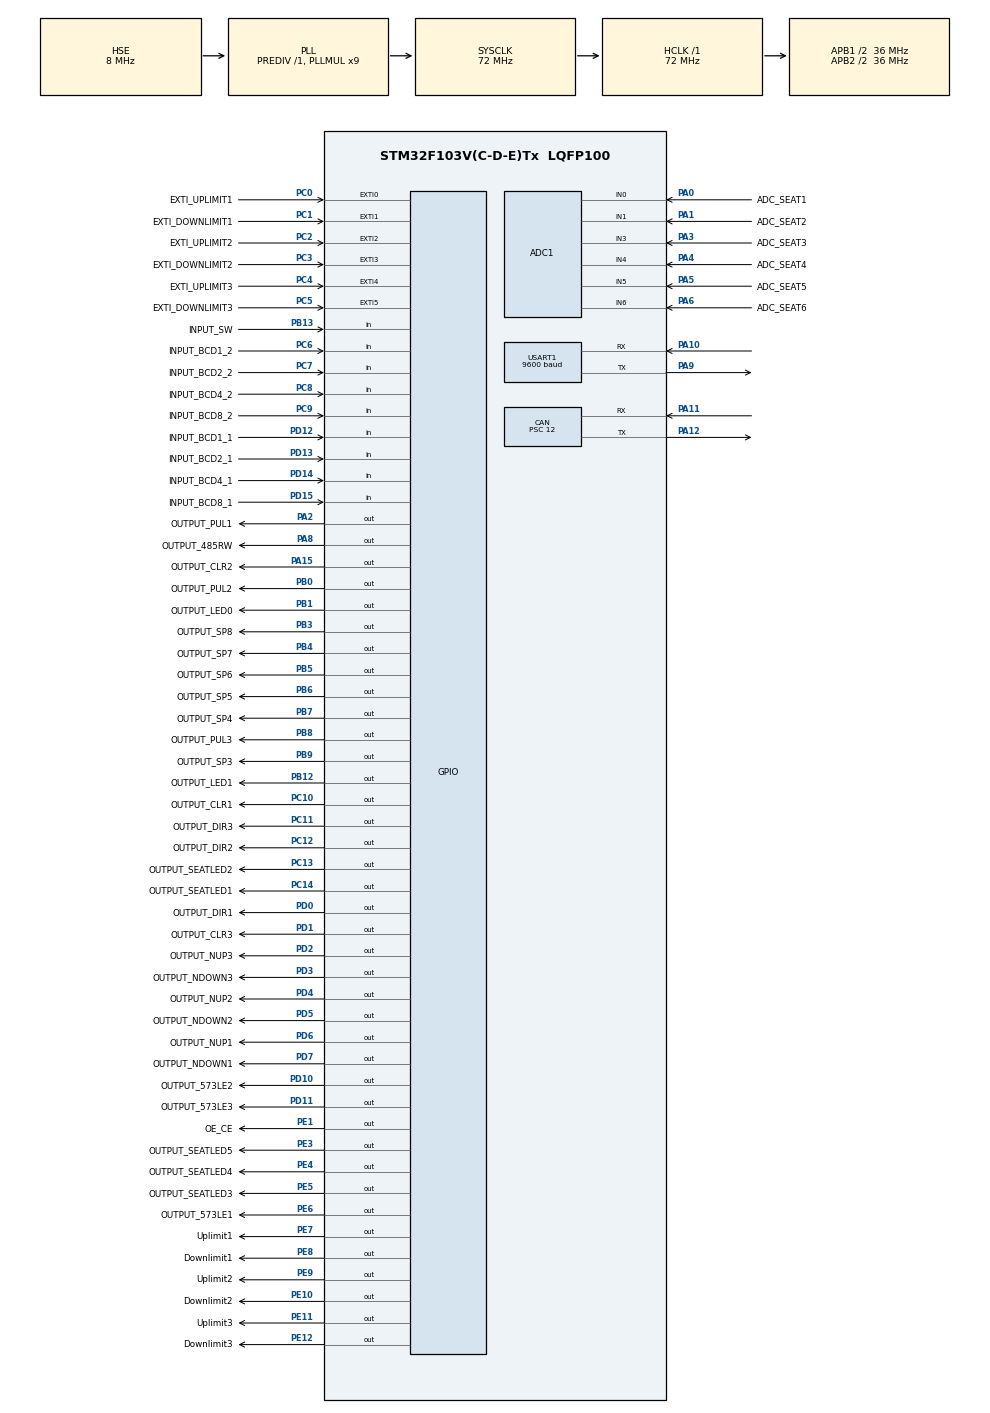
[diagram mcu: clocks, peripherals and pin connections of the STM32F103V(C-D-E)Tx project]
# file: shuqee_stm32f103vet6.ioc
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ADC1.Channel-0\#ChannelRegularConversion=ADC_CHANNEL_0
ADC1.Channel-1\#ChannelRegularConversion=ADC_CHANNEL_1
ADC1.Channel-2\#ChannelRegularConversion=ADC_CHANNEL_3
ADC1.Channel-3\#ChannelRegularConversion=ADC_CHANNEL_4
ADC1.Channel-4\#ChannelRegularConversion=ADC_CHANNEL_5
ADC1.Channel-5\#ChannelRegularConversion=ADC_CHANNEL_6
ADC1.ContinuousConvMode=ENABLE
ADC1.DataAlign=ADC_DATAALIGN_RIGHT
ADC1.DiscontinuousConvMode=DISABLE
ADC1.EnableAnalogWatchDog=false
ADC1.EnableRegularConversion=ENABLE
ADC1.ExternalTrigConv=ADC_SOFTWARE_START
ADC1.InjNumberOfConversion=0
ADC1.NbrOfConversion=6
ADC1.NbrOfConversionFlag=1
ADC1.Rank-0\#ChannelRegularConversion=1
ADC1.Rank-1\#ChannelRegularConversion=2
ADC1.Rank-2\#ChannelRegularConversion=3
ADC1.Rank-3\#ChannelRegularConversion=4
ADC1.Rank-4\#ChannelRegularConversion=5
ADC1.Rank-5\#ChannelRegularConversion=6
ADC1.SamplingTime-0\#ChannelRegularConversion=ADC_SAMPLETIME_239CYCLES_5
ADC1.SamplingTime-1\#ChannelRegularConversion=ADC_SAMPLETIME_239CYCLES_5
ADC1.SamplingTime-2\#ChannelRegularConversion=ADC_SAMPLETIME_239CYCLES_5
ADC1.SamplingTime-3\#ChannelRegularConversion=ADC_SAMPLETIME_239CYCLES_5
ADC1.SamplingTime-4\#ChannelRegularConversion=ADC_SAMPLETIME_239CYCLES_5
ADC1.SamplingTime-5\#ChannelRegularConversion=ADC_SAMPLETIME_239CYCLES_5
ADC1.ScanConvMode=ADC_SCAN_ENABLE
ADC1.master=1
CAN.BS1=CAN_BS1_5TQ
CAN.BS2=CAN_BS2_6TQ
CAN.CalculateTimeBit=4000
CAN.CalculateTimeQuantum=333.33333333333337
CAN.Prescaler=12
Dma.ADC1.0.Direction=DMA_PERIPH_TO_MEMORY
Dma.ADC1.0.Instance=DMA1_Channel1
Dma.ADC1.0.MemDataAlignment=DMA_MDATAALIGN_HALFWORD
Dma.ADC1.0.MemInc=DMA_MINC_ENABLE
Dma.ADC1.0.Mode=DMA_CIRCULAR
Dma.ADC1.0.PeriphDataAlignment=DMA_PDATAALIGN_HALFWORD
Dma.ADC1.0.PeriphInc=DMA_PINC_DISABLE
Dma.ADC1.0.Priority=DMA_PRIORITY_LOW
Dma.Request0=ADC1
Mcu.Family=STM32F1
Mcu.Name=STM32F103V(C-D-E)Tx
Mcu.Package=LQFP100
NVIC.DMA1_Channel1_IRQn=true\:4\:0\:true\:false\:true\:true
NVIC.EXTI0_IRQn=true\:0\:0\:false\:false\:true\:true
NVIC.EXTI1_IRQn=true\:0\:0\:false\:false\:true\:true
NVIC.EXTI2_IRQn=true\:0\:0\:false\:false\:true\:true
NVIC.EXTI3_IRQn=true\:0\:0\:false\:false\:true\:true
NVIC.EXTI4_IRQn=true\:0\:0\:false\:false\:true\:true
NVIC.EXTI9_5_IRQn=true\:0\:0\:false\:false\:true\:true
NVIC.PriorityGroup=NVIC_PRIORITYGROUP_4
NVIC.TIM1_UP_IRQn=true\:1\:0\:true\:false\:true\:true
NVIC.TIM2_IRQn=true\:1\:0\:true\:false\:true\:true
NVIC.TIM3_IRQn=true\:1\:0\:true\:false\:true\:true
NVIC.TIM6_IRQn=true\:1\:0\:true\:false\:true\:true
NVIC.USART1_IRQn=true\:2\:0\:true\:false\:true\:true
NVIC.USB_LP_CAN1_RX0_IRQn=true\:2\:0\:true\:false\:true\:true
OSC_IN.Mode=HSE-External-Oscillator
OSC_IN.Signal=RCC_OSC_IN
OSC_OUT.Mode=HSE-External-Oscillator
OSC_OUT.Signal=RCC_OSC_OUT
PA0-WKUP.GPIO_Label=ADC_SEAT1
PA0-WKUP.Signal=ADCx_IN0
PA1.GPIO_Label=ADC_SEAT2
PA1.Signal=ADCx_IN1
PA10.Mode=Asynchronous
PA10.Signal=USART1_RX
PA11.Mode=Master
PA11.Signal=CAN_RX
PA12.Mode=Master
PA12.Signal=CAN_TX
PA13.Mode=Serial_Wire
PA13.Signal=SYS_JTMS-SWDIO
PA14.Mode=Serial_Wire
PA14.Signal=SYS_JTCK-SWCLK
PA15.GPIO_Label=OUTPUT_CLR2
PA15.GPIO_Speed=GPIO_SPEED_FREQ_HIGH
PA15.Signal=GPIO_Output
PA2.GPIO_Label=OUTPUT_PUL1
PA2.GPIO_Speed=GPIO_SPEED_FREQ_HIGH
PA2.Signal=GPIO_Output
PA3.GPIO_Label=ADC_SEAT3
PA3.Signal=ADCx_IN3
PA4.GPIO_Label=ADC_SEAT4
PA4.Signal=ADCx_IN4
PA5.GPIO_Label=ADC_SEAT5
PA5.Signal=ADCx_IN5
PA6.GPIO_Label=ADC_SEAT6
PA6.Signal=ADCx_IN6
PA8.GPIO_Label=OUTPUT_485RW
PA8.GPIO_Speed=GPIO_SPEED_FREQ_HIGH
PA8.PinState=GPIO_PIN_SET
PA8.Signal=GPIO_Output
PA9.Mode=Asynchronous
PA9.Signal=USART1_TX
PB0.GPIO_Label=OUTPUT_PUL2
PB0.GPIO_Speed=GPIO_SPEED_FREQ_HIGH
PB0.Signal=GPIO_Output
PB1.GPIO_Label=OUTPUT_LED0
PB1.GPIO_Speed=GPIO_SPEED_FREQ_HIGH
PB1.Signal=GPIO_Output
PB12.GPIO_Label=OUTPUT_LED1
PB12.GPIO_Speed=GPIO_SPEED_FREQ_HIGH
PB12.Signal=GPIO_Output
PB13.GPIO_Label=INPUT_SW
PB13.Signal=GPIO_Input
PB3.GPIO_Label=OUTPUT_SP8
PB3.GPIO_Speed=GPIO_SPEED_FREQ_HIGH
PB3.PinState=GPIO_PIN_SET
PB3.Signal=GPIO_Output
PB4.GPIO_Label=OUTPUT_SP7
PB4.GPIO_Speed=GPIO_SPEED_FREQ_HIGH
PB4.PinState=GPIO_PIN_SET
PB4.Signal=GPIO_Output
PB5.GPIO_Label=OUTPUT_SP6
PB5.GPIO_Speed=GPIO_SPEED_FREQ_HIGH
PB5.PinState=GPIO_PIN_SET
PB5.Signal=GPIO_Output
PB6.GPIO_Label=OUTPUT_SP5
PB6.GPIO_Speed=GPIO_SPEED_FREQ_HIGH
PB6.PinState=GPIO_PIN_SET
PB6.Signal=GPIO_Output
PB7.GPIO_Label=OUTPUT_SP4
PB7.GPIO_Speed=GPIO_SPEED_FREQ_HIGH
PB7.PinState=GPIO_PIN_SET
PB7.Signal=GPIO_Output
PB8.GPIO_Label=OUTPUT_PUL3
PB8.GPIO_Speed=GPIO_SPEED_FREQ_HIGH
PB8.Signal=GPIO_Output
PB9.GPIO_Label=OUTPUT_SP3
PB9.GPIO_Speed=GPIO_SPEED_FREQ_HIGH
PB9.PinState=GPIO_PIN_SET
PB9.Signal=GPIO_Output
PC0.GPIO_Label=EXTI_UPLIMIT1
PC0.GPIO_ModeDefaultEXTI=GPIO_MODE_IT_RISING_FALLING
PC0.Signal=GPXTI0
PC1.GPIO_Label=EXTI_DOWNLIMIT1
PC1.GPIO_ModeDefaultEXTI=GPIO_MODE_IT_RISING_FALLING
PC1.Signal=GPXTI1
PC10.GPIO_Label=OUTPUT_CLR1
PC10.GPIO_Speed=GPIO_SPEED_FREQ_HIGH
PC10.Signal=GPIO_Output
PC11.GPIO_Label=OUTPUT_DIR3
PC11.GPIO_Speed=GPIO_SPEED_FREQ_HIGH
PC11.Signal=GPIO_Output
PC12.GPIO_Label=OUTPUT_DIR2
PC12.GPIO_Speed=GPIO_SPEED_FREQ_HIGH
PC12.Signal=GPIO_Output
PC13-TAMPER-RTC.GPIO_Label=OUTPUT_SEATLED2
PC13-TAMPER-RTC.GPIO_Speed=GPIO_SPEED_FREQ_HIGH
PC13-TAMPER-RTC.Signal=GPIO_Output
PC14-OSC32_IN.GPIO_Label=OUTPUT_SEATLED1
PC14-OSC32_IN.GPIO_Speed=GPIO_SPEED_FREQ_HIGH
PC14-OSC32_IN.Signal=GPIO_Output
PC2.GPIO_Label=EXTI_UPLIMIT2
PC2.GPIO_ModeDefaultEXTI=GPIO_MODE_IT_RISING_FALLING
PC2.Signal=GPXTI2
PC3.GPIO_Label=EXTI_DOWNLIMIT2
PC3.GPIO_ModeDefaultEXTI=GPIO_MODE_IT_RISING_FALLING
PC3.Signal=GPXTI3
PC4.GPIO_Label=EXTI_UPLIMIT3
PC4.GPIO_ModeDefaultEXTI=GPIO_MODE_IT_RISING_FALLING
PC4.Signal=GPXTI4
PC5.GPIO_Label=EXTI_DOWNLIMIT3
PC5.GPIO_ModeDefaultEXTI=GPIO_MODE_IT_RISING_FALLING
PC5.Signal=GPXTI5
PC6.GPIO_Label=INPUT_BCD1_2
PC6.Signal=GPIO_Input
PC7.GPIO_Label=INPUT_BCD2_2
PC7.Signal=GPIO_Input
PC8.GPIO_Label=INPUT_BCD4_2
PC8.Signal=GPIO_Input
PC9.GPIO_Label=INPUT_BCD8_2
PC9.Signal=GPIO_Input
PD0.GPIO_Label=OUTPUT_DIR1
PD0.GPIO_Speed=GPIO_SPEED_FREQ_HIGH
PD0.Signal=GPIO_Output
PD1.GPIO_Label=OUTPUT_CLR3
PD1.GPIO_Speed=GPIO_SPEED_FREQ_HIGH
PD1.Signal=GPIO_Output
PD10.GPIO_Label=OUTPUT_573LE2
PD10.GPIO_Speed=GPIO_SPEED_FREQ_HIGH
PD10.PinState=GPIO_PIN_RESET
PD10.Signal=GPIO_Output
PD11.GPIO_Label=OUTPUT_573LE3
PD11.GPIO_Speed=GPIO_SPEED_FREQ_HIGH
PD11.PinState=GPIO_PIN_RESET
PD11.Signal=GPIO_Output
PD12.GPIO_Label=INPUT_BCD1_1
PD12.Signal=GPIO_Input
PD13.GPIO_Label=INPUT_BCD2_1
PD13.Signal=GPIO_Input
PD14.GPIO_Label=INPUT_BCD4_1
PD14.Signal=GPIO_Input
PD15.GPIO_Label=INPUT_BCD8_1
PD15.Signal=GPIO_Input
PD2.GPIO_Label=OUTPUT_NUP3
PD2.GPIO_Speed=GPIO_SPEED_FREQ_HIGH
PD2.Signal=GPIO_Output
PD3.GPIO_Label=OUTPUT_NDOWN3
PD3.GPIO_Speed=GPIO_SPEED_FREQ_HIGH
PD3.Signal=GPIO_Output
PD4.GPIO_Label=OUTPUT_NUP2
PD4.GPIO_Speed=GPIO_SPEED_FREQ_HIGH
PD4.Signal=GPIO_Output
PD5.GPIO_Label=OUTPUT_NDOWN2
PD5.GPIO_Speed=GPIO_SPEED_FREQ_HIGH
PD5.Signal=GPIO_Output
PD6.GPIO_Label=OUTPUT_NUP1
PD6.GPIO_Speed=GPIO_SPEED_FREQ_HIGH
PD6.Signal=GPIO_Output
PD7.GPIO_Label=OUTPUT_NDOWN1
PD7.GPIO_Speed=GPIO_SPEED_FREQ_HIGH
PD7.Signal=GPIO_Output
PE1.GPIO_Label=OE_CE
PE1.Signal=GPIO_Output
PE10.GPIO_Label=Downlimit2
PE10.GPIO_Speed=GPIO_SPEED_FREQ_HIGH
PE10.PinState=GPIO_PIN_SET
PE10.Signal=GPIO_Output
PE11.GPIO_Label=Uplimit3
PE11.GPIO_Speed=GPIO_SPEED_FREQ_HIGH
PE11.PinState=GPIO_PIN_SET
PE11.Signal=GPIO_Output
PE12.GPIO_Label=Downlimit3
PE12.GPIO_Speed=GPIO_SPEED_FREQ_HIGH
PE12.PinState=GPIO_PIN_SET
PE12.Signal=GPIO_Output
PE3.GPIO_Label=OUTPUT_SEATLED5
PE3.GPIO_Speed=GPIO_SPEED_FREQ_HIGH
PE3.PinState=GPIO_PIN_RESET
PE3.Signal=GPIO_Output
PE4.GPIO_Label=OUTPUT_SEATLED4
PE4.GPIO_Speed=GPIO_SPEED_FREQ_HIGH
PE4.Signal=GPIO_Output
PE5.GPIO_Label=OUTPUT_SEATLED3
PE5.GPIO_Speed=GPIO_SPEED_FREQ_HIGH
PE5.Signal=GPIO_Output
PE6.GPIO_Label=OUTPUT_573LE1
PE6.GPIO_Speed=GPIO_SPEED_FREQ_HIGH
PE6.PinState=GPIO_PIN_RESET
PE6.Signal=GPIO_Output
PE7.GPIO_Label=Uplimit1
PE7.GPIO_Speed=GPIO_SPEED_FREQ_HIGH
PE7.PinState=GPIO_PIN_SET
PE7.Signal=GPIO_Output
PE8.GPIO_Label=Downlimit1
PE8.GPIO_Speed=GPIO_SPEED_FREQ_HIGH
PE8.PinState=GPIO_PIN_SET
PE8.Signal=GPIO_Output
PE9.GPIO_Label=Uplimit2
PE9.GPIO_Speed=GPIO_SPEED_FREQ_HIGH
PE9.PinState=GPIO_PIN_SET
PE9.Signal=GPIO_Output
ProjectManager.HeapSize=0x200
ProjectManager.StackSize=0x400
ProjectManager.TargetToolchain=MDK-ARM V5
RCC.ADCPresc=RCC_ADCPCLK2_DIV8
RCC.AHBFreq_Value=72000000
RCC.APB1CLKDivider=RCC_HCLK_DIV2
RCC.APB1Freq_Value=36000000
RCC.APB1TimFreq_Value=72000000
RCC.APB2CLKDivider=RCC_HCLK_DIV2
RCC.APB2Freq_Value=36000000
RCC.APB2TimFreq_Value=72000000
RCC.HCLKFreq_Value=72000000
RCC.PLLMUL=RCC_PLL_MUL9
RCC.PLLSourceVirtual=RCC_PLLSOURCE_HSE
RCC.SYSCLKFreq_VALUE=72000000
RCC.SYSCLKSource=RCC_SYSCLKSOURCE_PLLCLK
RCC.USBFreq_Value=72000000
SH.ADCx_IN0.0=ADC1_IN0,IN0
SH.ADCx_IN1.0=ADC1_IN1,IN1
SH.ADCx_IN3.0=ADC1_IN3,IN3
SH.ADCx_IN4.0=ADC1_IN4,IN4
SH.ADCx_IN5.0=ADC1_IN5,IN5
SH.ADCx_IN6.0=ADC1_IN6,IN6
TIM1.Period=999
TIM1.Prescaler=71
TIM2.Period=999
TIM2.Prescaler=71
TIM3.Period=999
TIM3.Prescaler=71
TIM6.AutoReloadPreload=TIM_AUTORELOAD_PRELOAD_ENABLE
TIM6.Period=999
TIM6.Prescaler=719
USART1.BaudRate=9600
USART1.VirtualMode=VM_ASYNC
VP_IWDG_VS_IWDG.Mode=IWDG_Activate
VP_TIM1_VS_ClockSourceINT.Mode=Internal
VP_TIM2_VS_ClockSourceINT.Mode=Internal
VP_TIM3_VS_ClockSourceINT.Mode=Internal
VP_TIM6_VS_ClockSourceINT.Mode=Enable_Timer
board=shuqee_stm32f103vet6

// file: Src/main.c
/**
  ******************************************************************************
  * File Name          : main.c
  * Description        : Main program body
  ******************************************************************************
  ** This notice applies to any and all portions of this file
  * that are not between comment pairs USER CODE BEGIN and
  * USER CODE END. Other portions of this file, whether
  * inserted by the user or by software development tools
  * are owned by their respective copyright owners.
  *
  * COPYRIGHT(c) 2018 STMicroelectronics
  *
  * Redistribution and use in source and binary forms, with or without modification,
  * are permitted provided that the following conditions are met:
  *   1. Redistributions of source code must retain the above copyright notice,
  *      this list of conditions and the following disclaimer.
  *   2. Redistributions in binary form must reproduce the above copyright notice,
  *      this list of conditions and the following disclaimer in the documentation
  *      and/or other materials provided with the distribution.
  *   3. Neither the name of STMicroelectronics nor the names of its contributors
  *      may be used to endorse or promote products derived from this software
  *      without specific prior written permission.
  *
  * THIS SOFTWARE IS PROVIDED BY THE COPYRIGHT HOLDERS AND CONTRIBUTORS "AS IS"
  * AND ANY EXPRESS OR IMPLIED WARRANTIES, INCLUDING, BUT NOT LIMITED TO, THE
  * IMPLIED WARRANTIES OF MERCHANTABILITY AND FITNESS FOR A PARTICULAR PURPOSE ARE
  * DISCLAIMED. IN NO EVENT SHALL THE COPYRIGHT HOLDER OR CONTRIBUTORS BE LIABLE
  * FOR ANY DIRECT, INDIRECT, INCIDENTAL, SPECIAL, EXEMPLARY, OR CONSEQUENTIAL
  * DAMAGES (INCLUDING, BUT NOT LIMITED TO, PROCUREMENT OF SUBSTITUTE GOODS OR
  * SERVICES; LOSS OF USE, DATA, OR PROFITS; OR BUSINESS INTERRUPTION) HOWEVER
  * CAUSED AND ON ANY THEORY OF LIABILITY, WHETHER IN CONTRACT, STRICT LIABILITY,
  * OR TORT (INCLUDING NEGLIGENCE OR OTHERWISE) ARISING IN ANY WAY OUT OF THE USE
  * OF THIS SOFTWARE, EVEN IF ADVISED OF THE POSSIBILITY OF SUCH DAMAGE.
  *
  ******************************************************************************
  */

#include "main.h"
#include "stm32f1xx_hal.h"

/* USER CODE BEGIN Includes */
#include "user_config.h"
#include "user_io.h"
#include "user_time.h"
#include "user_uart.h"
#include "user_can.h"
#include "sw_timer.h"
#include "sw_timer.h"

#include <string.h>

/* USER CODE END Includes */

ADC_HandleTypeDef hadc1;
DMA_HandleTypeDef hdma_adc1;

CAN_HandleTypeDef hcan;

IWDG_HandleTypeDef hiwdg;

TIM_HandleTypeDef htim1;
TIM_HandleTypeDef htim2;
TIM_HandleTypeDef htim3;
TIM_HandleTypeDef htim6;

UART_HandleTypeDef huart1;

/* USER CODE BEGIN PV */
/* Private variables ---------------------------------------------------------*/

struct motion_status motion[MOTION_COUNT] = {MOTION1};
struct status status = {0};
int flag_rst = 0;	//reset flag

/* USER CODE END PV */

void SystemClock_Config(void);
static void MX_GPIO_Init(void);
static void MX_DMA_Init(void);
static void MX_ADC1_Init(void);
static void MX_TIM1_Init(void);
static void MX_TIM2_Init(void);
static void MX_TIM3_Init(void);
static void MX_USART1_UART_Init(void);
static void MX_IWDG_Init(void);
static void MX_CAN_Init(void);
static void MX_TIM6_Init(void);

/* USER CODE BEGIN PFP */
/* Private function prototypes -----------------------------------------------*/
static void exti_interrupt_filter(void);
/* USER CODE END PFP */

/* USER CODE BEGIN 0 */

void delay_ns(uint32_t times)
{
	while(times--);
}

void delay_us(uint32_t times)
{
	int i;
	uint32_t count;
	for(i=0; i<10; i++)
	{
		count = times;
		while(count--);
	}
}

void delay_ms(uint32_t times)
{
	uint32_t count;
	count = times;
	while(count--)
		delay_us(1000);
}

/*外部中断屏蔽模块*/
void exti_mask(void)
{
	EXTI->IMR &=~(1<<1);  //1中断屏蔽模
	EXTI->IMR &=~(1<<3);	 //3中断屏蔽模
	EXTI->IMR &=~(1<<5);  //5中断屏蔽模
}

/*外部中断开启模块*/
void exti_open(void)
{
	EXTI->IMR |=1<<1;  //1开启屏蔽模
	EXTI->IMR |=1<<3;	 //3开启屏蔽模
	EXTI->IMR |=1<<5;  //5开启屏蔽模
}

#ifdef ENV_RESET
void find_origin(void) /* reset function */
{
	enum motion_num i;
	uint8_t downlimit_temp = 0;
	int def_high[MOTION_COUNT] = {0};
	int find_origin_step[MOTION_COUNT] = {0};
	uint8_t not_reset_num = 0; /* 未复位缸的数量 */
	for(i=MOTION1; i<MOTION_COUNT; i++)
	flag_rst |= 1<<i; /* 初始化复位标志(缸对应位初始值为1,复位后缸对应位为0) */
#ifndef MOTION1_ENABLE
	flag_rst &= ~(1<<MOTION1);
#endif
#ifndef MOTION2_ENABLE
	flag_rst &= ~(1<<MOTION2);
#endif
#ifndef MOTION3_ENABLE
	flag_rst &= ~(1<<MOTION3);
#endif
	while(flag_rst)	/* 仍有缸未复位 */
	{
		not_reset_num = 0;
		for(i=MOTION1; i<MOTION_COUNT; i++)
		{
			if((flag_rst&(1<<i)) != 0) /* 未复位 */
			{
				not_reset_num += 1;
			}
		}
		for(i=MOTION1; i<MOTION_COUNT; i++)
		{
			if((flag_rst&(1<<i)) != 0) /* 未复位 */
			{
				SAFE(downlimit_temp = status.downlimit[i]);
				switch (find_origin_step[i])
				{
					case 0:
						if (i == MOTION1)
						{
							LED_SEAT1(1);
							LED_SEAT2(1);
						}
						if (i == MOTION3)
						{
							LED_SEAT3(1);
							LED_SEAT4(1);
						}
						if (downlimit_temp == 0) /* 缸未到底 */
						{
							HAL_GPIO_WritePin(motion[i].io.ndown_port, motion[i].io.ndown_pin, GPIO_PIN_SET); /* 允许下降 */
							set_pul(i, (GPIO_PinState)1, (ENV_RESET_SPEED*MOTION_COUNT/not_reset_num), 1); /* 向下运动 */
						}
						else
						{
							++find_origin_step[i];
						}
						break;
					case 1:
						if (i == MOTION1)
						{
							LED_SEAT1(0);
							LED_SEAT2(1);
						}
						if (i == MOTION3)
						{
							LED_SEAT3(0);
							LED_SEAT4(1);
						}
						if (downlimit_temp == 1) /* 缸到底 */
						{
							HAL_GPIO_WritePin(motion[i].io.nup_port, motion[i].io.nup_pin, GPIO_PIN_SET); /* 允许上升 */
							set_pul(i, (GPIO_PinState)0, (ENV_RESET_SPEED*MOTION_COUNT/not_reset_num), 1); /* 向上运动 */
						}
						else
						{
							++find_origin_step[i];
						}
						break;
					case 2:
						if (i == MOTION1)
						{
							LED_SEAT1(1);
							LED_SEAT2(0);
						}
						if (i == MOTION3)
						{
							LED_SEAT3(1);
							LED_SEAT4(0);
						}
						if (downlimit_temp == 0) /* 缸未到底 */
						{
							HAL_GPIO_WritePin(motion[i].io.ndown_port, motion[i].io.ndown_pin, GPIO_PIN_SET); /* 允许下降 */
							set_pul(i, (GPIO_PinState)1, (ENV_RESET_SPEED*MOTION_COUNT/not_reset_num), 1); /* 向下运动 */
						}
						else
						{
							HAL_GPIO_WritePin(motion[i].io.nup_port, motion[i].io.nup_pin, GPIO_PIN_SET); /* 允许上升 */
							++find_origin_step[i];
						}
						break;
					case 3:
						if (i == MOTION1)
						{
							LED_SEAT1(0);
							LED_SEAT2(0);
						}
						if (i == MOTION3)
						{
							LED_SEAT3(0);
							LED_SEAT4(0);
						}
						if (motion[i].config.adj == 0) /* 不需要校正 */
							flag_rst &= ~(1<<i); /* 标志复位完成 */
						else
						{
							def_high[i] = motion[i].config.adj * ENV_SPACE;	/* 初始化校正高度 */
							++find_origin_step[i];
						}
						break;
					case 4:
						if (i == MOTION1)
						{
							LED_SEAT1(0);
							LED_SEAT2(0);
						}
						if (i == MOTION3)
						{
							LED_SEAT3(0);
							LED_SEAT4(0);
						}
						if(def_high[i] != 0)
						{
							set_pul(i, (GPIO_PinState)0, (ENV_RESET_SPEED*MOTION_COUNT/not_reset_num), 1); /* 向上运动 */
							def_high[i]--;
							if(def_high[i] == 0) /* 运动到指定位置 */
							{
								flag_rst &= ~(1<<i); /* 标志复位完成 */
							}
						}
						break;
					default:
						find_origin_step[i] = 0;
						break;
				}
			}
		}
#ifdef ENV_IWDG
		HAL_IWDG_Refresh(&hiwdg); /* have to refresh the iwdg */
#endif
#ifdef DIRNA
		exti_interrupt_filter();
#endif
	}
}
#endif

void exchange_nup_ndown(enum motion_num index)
{
	GPIO_TypeDef * temp_port;
	uint16_t temp_pin;
	temp_port = motion[index].io.nup_port;
	temp_pin = motion[index].io.nup_pin;
	motion[index].io.nup_port = motion[index].io.ndown_port;
	motion[index].io.nup_pin = motion[index].io.ndown_pin;
	motion[index].io.ndown_port = temp_port;
	motion[index].io.ndown_pin = temp_pin;
}

void user_motion_init(void)
{
	enum motion_num i;

	motion[MOTION1].io.dir_port = OUTPUT_DIR1_GPIO_Port;
	motion[MOTION1].io.dir_pin = OUTPUT_DIR1_Pin;
	motion[MOTION1].io.pul_port = OUTPUT_PUL1_GPIO_Port;
	motion[MOTION1].io.pul_pin = OUTPUT_PUL1_Pin;
	motion[MOTION1].io.nup_port = OUTPUT_NUP1_GPIO_Port;
	motion[MOTION1].io.nup_pin = OUTPUT_NUP1_Pin;
	motion[MOTION1].io.ndown_port = OUTPUT_NDOWN1_GPIO_Port;
	motion[MOTION1].io.ndown_pin = OUTPUT_NDOWN1_Pin;
	motion[MOTION2].io.dir_port = OUTPUT_DIR2_GPIO_Port;
	motion[MOTION2].io.dir_pin = OUTPUT_DIR2_Pin;
	motion[MOTION2].io.pul_port = OUTPUT_PUL2_GPIO_Port;
	motion[MOTION2].io.pul_pin = OUTPUT_PUL2_Pin;
	motion[MOTION2].io.nup_port = OUTPUT_NUP2_GPIO_Port;
	motion[MOTION2].io.nup_pin = OUTPUT_NUP2_Pin;
	motion[MOTION2].io.ndown_port = OUTPUT_NDOWN2_GPIO_Port;
	motion[MOTION2].io.ndown_pin = OUTPUT_NDOWN2_Pin;
	motion[MOTION3].io.dir_port = OUTPUT_DIR3_GPIO_Port;
	motion[MOTION3].io.dir_pin = OUTPUT_DIR3_Pin;
	motion[MOTION3].io.pul_port = OUTPUT_PUL3_GPIO_Port;
	motion[MOTION3].io.pul_pin = OUTPUT_PUL3_Pin;
	motion[MOTION3].io.nup_port = OUTPUT_NUP3_GPIO_Port;
	motion[MOTION3].io.nup_pin = OUTPUT_NUP3_Pin;
	motion[MOTION3].io.ndown_port = OUTPUT_NDOWN3_GPIO_Port;
	motion[MOTION3].io.ndown_pin = OUTPUT_NDOWN3_Pin;

	motion[MOTION1].config.dir = MOTION1_CONFIG_DIR;
	motion[MOTION2].config.dir = MOTION2_CONFIG_DIR;
	motion[MOTION3].config.dir = MOTION3_CONFIG_DIR;

	motion[MOTION1].config.origin = MOTION1_CONFIG_ORIGIN;
	motion[MOTION2].config.origin = MOTION2_CONFIG_ORIGIN;
	motion[MOTION3].config.origin = MOTION3_CONFIG_ORIGIN;

	motion[MOTION1].config.adj = MOTION1_CONFIG_ADJ;
	motion[MOTION2].config.adj = MOTION2_CONFIG_ADJ;
	motion[MOTION3].config.adj = MOTION3_CONFIG_ADJ;

	for (i=MOTION1; i<MOTION_COUNT; i++)
	{
		motion[i].index = i;
		motion[i].high.set = motion[i].config.origin * ENV_SPACE;
		if (motion[i].config.dir == GPIO_PIN_SET) /* 如果脉冲方向取反 */
			exchange_nup_ndown(i); /* 正反转禁止对应引脚取反 */
	}
#ifdef ENV_RESET
	find_origin();
#endif
}

#ifdef ENV_NOSENSOR
void free_ndown(void)
{
	enum motion_num i;
	for (i=MOTION1; i<MOTION_COUNT; i++)
	{
		if (motion[i].high.now >= 0 * ENV_SPACE)
			HAL_GPIO_WritePin(motion[i].io.ndown_port, motion[i].io.ndown_pin, GPIO_PIN_SET); /* 允许下降 */
	}
}
void free_nup(void)
{
	enum motion_num i;
	for (i=MOTION1; i<MOTION_COUNT; i++)
	{
		if (motion[i].high.now <= 255 * ENV_SPACE)
			HAL_GPIO_WritePin(motion[i].io.nup_port, motion[i].io.nup_pin, GPIO_PIN_SET); /* 允许上升 */
	}
}
#else
void free_ndown(void)
{
	enum motion_num i;
	for (i=MOTION1; i<MOTION_COUNT; i++)
	{
		if (status.downlimit[i] == 0)
			HAL_GPIO_WritePin(motion[i].io.ndown_port, motion[i].io.ndown_pin, GPIO_PIN_SET); /* 允许下降 */
	}
}
void free_nup(void)
{
	enum motion_num i;
	for (i=MOTION1; i<MOTION_COUNT; i++)
	{
		if (status.uplimit[i] == 0)
			HAL_GPIO_WritePin(motion[i].io.nup_port, motion[i].io.nup_pin, GPIO_PIN_SET); /* 允许上升 */
	}
}
#endif

#ifdef DIRNA
uint16_t recognize_limit_time(enum motion_num index)
{
	if((motion[index].high.now<=0x10)&&(motion[index].high.now>=0)&&(motion[index].dir==(GPIO_PinState)1))  //0x00-0x10
	{
		return RESET_FILTER_TIME;
	}
	if((motion[index].high.now<=0xff)&&(motion[index].high.now>=0xef)&&(motion[index].dir==(GPIO_PinState)0))  //0xef-0xff
	{
		return RESET_FILTER_TIME;
	}
	if((motion[index].high.now<0xef)&&(motion[index].high.now>0x10))  //0x00-0x10
	{
		return RUN_TILTER_TIME;
	}
 return RUN_TILTER_TIME;
}
void exti_interrupt_filter(void)
{
	enum motion_num index;
	uint32_t temp;
	for(index=MOTION1;index<MOTION_COUNT;index++)
	{
		if(flag_rst )//复位；
		{
			if(status.uplimit[index]==1)
			{
				if (HAL_GetTick() - status.uplimit_count_time[index]>=RESET_FILTER_TIME)
				{
					if(index==MOTION2)	//测试用
					Uplimit1(1);				//测试用
				}
			}
			else
			{
				status.uplimit_count_time[index]=  HAL_GetTick();
			}
			if(status.downlimit[index]==1)
			{
				if (HAL_GetTick() - status.downlimit_count_time[index]>=RESET_FILTER_TIME)
				{
					if(index==MOTION2)	//测试用
					Downlimit1(1);			//测试用
				}
			}
			else
			{
				status.downlimit_count_time[index]=  HAL_GetTick();
			}
		}
	if(flag_rst==0 )//正常运行;
	{
		if(status.uplimit[index]==1)
		{
			if(HAL_GetTick()<recognize_limit_time(index))  //确定滴答时钟是否不满足时间LIMIT
			{
				status.protection_up_flag[index]=1;
			}
			if (HAL_GetTick() - status.uplimit_count_time[index]>=recognize_limit_time(index))
			{
				if(status.protection_up_flag[index])
				{
					temp=status.uplimit_count_time[index];
					status.uplimit_count_time[index]=  HAL_GetTick()-temp;
					status.protection_up_flag[index]=0;
					continue;
				}
				if(index==MOTION2)		//测试用
				Uplimit2(1);					//测试用
				up_limit(index);
			}
		}
		else
		{
			status.uplimit_count_time[index]=  HAL_GetTick();
		}
		if(status.downlimit[index]==1)
		{
			if(HAL_GetTick()<recognize_limit_time(index))  //确定滴答时钟是否不满足时间LIMIT
			{
				status.protection_down_flag[index]=1;
			}
			if (HAL_GetTick() - status.downlimit_count_time[index]>=recognize_limit_time(index))
			{
				if(status.protection_down_flag[index])
				{
					temp=status.uplimit_count_time[index];
					status.uplimit_count_time[index]=  HAL_GetTick()-temp;
					status.protection_down_flag[index]=0;
					continue;
				}
				if(index==MOTION2)  //测试用
				Downlimit2(1);	    //测试用
				down_limit(index);
			}
		}
		else
		{
			status.downlimit_count_time[index]=  HAL_GetTick();
		}
	}
 }
}

#endif
/* USER CODE END 0 */

int main(void)
{

  /* USER CODE BEGIN 1 */
	static int led_count = 0;
#ifdef ENV_SEAT_PICKING
	static uint8_t seat_picking = 0;
#endif
#ifdef ENV_SEND_SEAT_INFO
	static uint8_t send_seat = 0;
	static uint8_t send_buf[4] = {0xff,0xc1}; /* 回复帧头 */
	static int send_index = 0;
#endif

	 /* 串口数据更新标志 */
	uint8_t update_485;
	uint8_t update_can;
	uint8_t init_flag = 0; /* 初始化标准位 */
  /* USER CODE END 1 */

  /* MCU Configuration----------------------------------------------------------*/

  /* Reset of all peripherals, Initializes the Flash interface and the Systick. */
  HAL_Init();

  /* Configure the system clock */
  SystemClock_Config();

  /* USER CODE BEGIN SysInit */
#ifdef ENV_IWDG
  /* USER CODE END SysInit */

  /* Initialize all configured peripherals */
  MX_GPIO_Init();
  MX_DMA_Init();
  MX_ADC1_Init();
  MX_TIM1_Init();
  MX_TIM2_Init();
  MX_TIM3_Init();
  MX_USART1_UART_Init();
  MX_IWDG_Init();
  MX_CAN_Init();
  MX_TIM6_Init();

  /* USER CODE BEGIN 2 */
#else

  /* Initialize all configured peripherals */
  MX_GPIO_Init();
  MX_DMA_Init();
  MX_ADC1_Init();
  MX_TIM1_Init();
  MX_TIM2_Init();
  MX_TIM3_Init();
	MX_TIM6_Init();
  MX_USART1_UART_Init();
	MX_CAN_Init();
  /* MX_IWDG_Init(); */

#endif
  /* USER CODE END 2 */

  /* Infinite loop */
  while (1)
  {

  /* USER CODE BEGIN 3 */

	memset((void *)motion, 0 ,sizeof(motion));
	status.id = 0;
	status.seat_num = 0;
	status.seat_enable = 0;
	status.spb = 0;
	led_count = 0;
#ifdef ENV_SEAT_PICKING
	seat_picking = 0;
#endif
#ifdef ENV_SEND_SEAT_INFO
	send_seat = 0;
	send_index = 0;
#endif
	user_io_init();
	user_motion_init();
  user_adc_start();
	user_time_init();
	user_uart_init();
	user_can_init();
	sw_timer_init();
	init_flag = 1;
	while (init_flag != 0)
	{
#ifdef DIRNA
		exti_interrupt_filter();
#endif
		sw_timer_handle();
#ifdef ENV_IWDG
		HAL_IWDG_Refresh(&hiwdg);
#endif
		status.seat_enable = GET_SEAT_ENABLE();
		SAFE(status.seat_enable += status.seat_num);
		SAFE(update_485 = frame.enable);
		SAFE(free_ndown());
		SAFE(free_nup());
    SAFE(update_can=get_update_flag());
		if((update_485)||(update_can)) /* 串口数据更新 */
		{
			SAFE(frame.enable = 0);
			SAFE(clr_update_flag());
			/*LED_START*/
			led_count++;
			led_count = led_count%10;
			if(led_count == 0)
			{
				LED_TOGGLE(); /* 闪烁指示灯 */
			}
			/*LED_END*/
			/*SEAT_START*/
#ifdef ENV_SEAT_PICKING
			if (seat_picking == 0) /* 座椅未被选中 */
			{
				status.seat_enable = 0;
			}
#endif
///////////////////////////////////////////////////////////////////
		if(!can_or_485)
		{
//			uint8_t msg_buff_l[8]={0};
////	  uint8_t a,b,c;
//			SAFE(get_high_speed_date(HIGHT_MSG_P,msg_buff_l));
////			SAFE(get_high_speed_date(ENV_SP_P,&a));
////			SAFE(get_high_speed_date(SEAT_ID_P,&b));
////			SAFE(get_high_speed_date(SEAT_SP_P,&c));
//
//			SAFE(frame.buff[4]=msg_buff_l[2]);
//			SAFE(frame.buff[3]=msg_buff_l[1]);
//			SAFE(frame.buff[2]=msg_buff_l[0]);
//
//			SAFE(frame.buff[5]=msg_buff_l[4]);
//			SAFE(frame.buff[7]=msg_buff_l[5]);
		}
			////////////////////////////////////////////////////////////

			if(status.seat_enable) /* 座椅使能 */
			{
				SAFE(status.spb = frame.buff[5]); /* 更新特效 */
//#ifdef MOTION1_ENABLE
//				SAFE(motion[MOTION1].high.set = frame.buff[4] * ENV_SPACE); /* 更新目标位置 */
//#else
//				SAFE(motion[MOTION1].high.set = motion[MOTION1].config.origin * ENV_SPACE); /* 恢复目标位置 */
//#endif
//#ifdef MOTION2_ENABLE
//				SAFE(motion[MOTION2].high.set = frame.buff[3] * ENV_SPACE); /* 更新目标位置 */
//#else
//				SAFE(motion[MOTION2].high.set = motion[MOTION2].config.origin * ENV_SPACE); /* 恢复目标位置 */
//#endif
//#ifdef MOTION3_ENABLE
//				SAFE(motion[MOTION3].high.set = frame.buff[2] * ENV_SPACE); /* 更新目标位置 */
//#else
//				SAFE(motion[MOTION3].high.set = motion[MOTION3].config.origin * ENV_SPACE); /* 恢复目标位置 */
//#endif
			}
			else
			{
				SAFE(motion[MOTION1].high.set = motion[MOTION1].config.origin * ENV_SPACE); /* 恢复目标位置 */
				SAFE(motion[MOTION2].high.set = motion[MOTION2].config.origin * ENV_SPACE); /* 恢复目标位置 */
				SAFE(motion[MOTION3].high.set = motion[MOTION3].config.origin * ENV_SPACE); /* 恢复目标位置 */
				SAFE(status.spb = frame.buff[5]); /* 更新特效 */
#ifdef ENV_SWING_LINK
				SAFE(status.spb &= SPB_AIR_INJECTION_MASK); /* 恢复特效 */
#else
				SAFE(status.spb = 0); /* 恢复特效 */
#endif
			}
			status.id = 0; /* 更新id */
			if(GET_ID_1())
				status.id = status.id + 1;
			if(GET_ID_2())
				status.id = status.id + 2;
			if(GET_ID_4())
				status.id = status.id + 4;
			if(GET_ID_8())
				status.id = status.id + 8;
			if(GET_ID_10())
				status.id = status.id + 10;
			if(GET_ID_20())
				status.id = status.id + 20;
			if(GET_ID_40())
				status.id = status.id + 40;
			if(GET_ID_80())
				status.id = status.id + 80;
#ifdef ENV_SEAT_PICKING
			if (frame.buff[7] == 0xAA) /* 选中所有座椅 */
			{
				seat_picking = 1;
			}
			else if (frame.buff[7] == 0x00) /* 取消选中所有座椅 */
			{
				seat_picking = 0;
			}
			else if (frame.buff[7] == status.id) /* 根据ID选中座椅 */
			{
				seat_picking = 1;
			}
			else
			{
				; /* 维持当前选中或未选中状态 */
			}
#endif
#ifdef ENV_SEND_SEAT_INFO
			if(frame.buff[7] == status.id) /* 判断座椅编号 */
			{
				if (frame.buff[7] != 0x00)
				{
					send_seat = 1;
					send_buf[2] = status.id;
					SAFE(send_buf[3] = status.seat_num);
				}
			}
#endif
			/*SEAT_END*/
		}
		/*SEND_SEAT_START*/
#ifdef ENV_SEND_SEAT_INFO
		if(send_seat)
		{
			HAL_GPIO_WritePin(OUTPUT_485RW_GPIO_Port, OUTPUT_485RW_Pin, GPIO_PIN_RESET); /* 485发送 */
			if(send_index == 0 || __HAL_UART_GET_FLAG(&huart1, UART_FLAG_TXE) != RESET)
			{
				huart1.Instance->DR = send_buf[send_index];
				send_index++;
			}
			if(send_index == 4)
			{
				send_index = 0;
				send_seat = 0;
			}
		}
		else
		{
			if(__HAL_UART_GET_FLAG(&huart1, UART_FLAG_TXE) != RESET)
			HAL_GPIO_WritePin(OUTPUT_485RW_GPIO_Port, OUTPUT_485RW_Pin, GPIO_PIN_SET); /* 485接收 */
		}
#endif
		/*SEND_SEAT_END*/
		/*SPB_START*/
		SPB3(status.spb&(1<<2)); /* 更新特效到IO输出 */
		SPB4(status.spb&(1<<3));
		SPB5(status.spb&(1<<4));
		SPB6(status.spb&(1<<5));
		SPB7(status.spb&(1<<6));
		SPB8(status.spb&(1<<7));
		/*SPB_END*/
		/*RST_START*/
		if (status.spb&0x01)
		{
			user_adc_stop();
			user_time_stop();
			user_uart_stop();
			init_flag = 0;
		}
		else
		{
			/*RST_END*/
			HAL_UART_Receive_IT(&huart1, (uint8_t *)&(frame.data), 1); /* 防止串口出错 */
		}
	}
  }
  /* USER CODE END 3 */

}

/** System Clock Configuration
*/
void SystemClock_Config(void)
{

  RCC_OscInitTypeDef RCC_OscInitStruct;
  RCC_ClkInitTypeDef RCC_ClkInitStruct;
  RCC_PeriphCLKInitTypeDef PeriphClkInit;

    /**Initializes the CPU, AHB and APB busses clocks
    */
  RCC_OscInitStruct.OscillatorType = RCC_OSCILLATORTYPE_LSI|RCC_OSCILLATORTYPE_HSE;
  RCC_OscInitStruct.HSEState = RCC_HSE_ON;
  RCC_OscInitStruct.HSEPredivValue = RCC_HSE_PREDIV_DIV1;
  RCC_OscInitStruct.HSIState = RCC_HSI_ON;
  RCC_OscInitStruct.LSIState = RCC_LSI_ON;
  RCC_OscInitStruct.PLL.PLLState = RCC_PLL_ON;
  RCC_OscInitStruct.PLL.PLLSource = RCC_PLLSOURCE_HSE;
  RCC_OscInitStruct.PLL.PLLMUL = RCC_PLL_MUL9;
  if (HAL_RCC_OscConfig(&RCC_OscInitStruct) != HAL_OK)
  {
    _Error_Handler(__FILE__, __LINE__);
  }

    /**Initializes the CPU, AHB and APB busses clocks
    */
  RCC_ClkInitStruct.ClockType = RCC_CLOCKTYPE_HCLK|RCC_CLOCKTYPE_SYSCLK
                              |RCC_CLOCKTYPE_PCLK1|RCC_CLOCKTYPE_PCLK2;
  RCC_ClkInitStruct.SYSCLKSource = RCC_SYSCLKSOURCE_PLLCLK;
  RCC_ClkInitStruct.AHBCLKDivider = RCC_SYSCLK_DIV1;
  RCC_ClkInitStruct.APB1CLKDivider = RCC_HCLK_DIV2;
  RCC_ClkInitStruct.APB2CLKDivider = RCC_HCLK_DIV2;

  if (HAL_RCC_ClockConfig(&RCC_ClkInitStruct, FLASH_LATENCY_2) != HAL_OK)
  {
    _Error_Handler(__FILE__, __LINE__);
  }

  PeriphClkInit.PeriphClockSelection = RCC_PERIPHCLK_ADC;
  PeriphClkInit.AdcClockSelection = RCC_ADCPCLK2_DIV8;
  if (HAL_RCCEx_PeriphCLKConfig(&PeriphClkInit) != HAL_OK)
  {
    _Error_Handler(__FILE__, __LINE__);
  }

    /**Configure the Systick interrupt time
    */
  HAL_SYSTICK_Config(HAL_RCC_GetHCLKFreq()/1000);

    /**Configure the Systick
    */
  HAL_SYSTICK_CLKSourceConfig(SYSTICK_CLKSOURCE_HCLK);

  /* SysTick_IRQn interrupt configuration */
  HAL_NVIC_SetPriority(SysTick_IRQn, 5, 0);
}

/* ADC1 init function */
static void MX_ADC1_Init(void)
{

  ADC_ChannelConfTypeDef sConfig;

    /**Common config
    */
  hadc1.Instance = ADC1;
  hadc1.Init.ScanConvMode = ADC_SCAN_ENABLE;
  hadc1.Init.ContinuousConvMode = ENABLE;
  hadc1.Init.DiscontinuousConvMode = DISABLE;
  hadc1.Init.ExternalTrigConv = ADC_SOFTWARE_START;
  hadc1.Init.DataAlign = ADC_DATAALIGN_RIGHT;
  hadc1.Init.NbrOfConversion = 6;
  if (HAL_ADC_Init(&hadc1) != HAL_OK)
  {
    _Error_Handler(__FILE__, __LINE__);
  }

    /**Configure Regular Channel
    */
  sConfig.Channel = ADC_CHANNEL_0;
  sConfig.Rank = 1;
  sConfig.SamplingTime = ADC_SAMPLETIME_239CYCLES_5;
  if (HAL_ADC_ConfigChannel(&hadc1, &sConfig) != HAL_OK)
  {
    _Error_Handler(__FILE__, __LINE__);
  }

    /**Configure Regular Channel
    */
  sConfig.Channel = ADC_CHANNEL_1;
  sConfig.Rank = 2;
  if (HAL_ADC_ConfigChannel(&hadc1, &sConfig) != HAL_OK)
  {
    _Error_Handler(__FILE__, __LINE__);
  }

    /**Configure Regular Channel
    */
  sConfig.Channel = ADC_CHANNEL_3;
  sConfig.Rank = 3;
  if (HAL_ADC_ConfigChannel(&hadc1, &sConfig) != HAL_OK)
  {
    _Error_Handler(__FILE__, __LINE__);
  }

    /**Configure Regular Channel
    */
  sConfig.Channel = ADC_CHANNEL_4;
  sConfig.Rank = 4;
  if (HAL_ADC_ConfigChannel(&hadc1, &sConfig) != HAL_OK)
  {
    _Error_Handler(__FILE__, __LINE__);
  }

    /**Configure Regular Channel
    */
  sConfig.Channel = ADC_CHANNEL_5;
  sConfig.Rank = 5;
  if (HAL_ADC_ConfigChannel(&hadc1, &sConfig) != HAL_OK)
  {
    _Error_Handler(__FILE__, __LINE__);
  }

    /**Configure Regular Channel
    */
  sConfig.Channel = ADC_CHANNEL_6;
  sConfig.Rank = 6;
  if (HAL_ADC_ConfigChannel(&hadc1, &sConfig) != HAL_OK)
  {
    _Error_Handler(__FILE__, __LINE__);
  }

}

/* CAN init function */
static void MX_CAN_Init(void)
{

  hcan.Instance = CAN1;
  hcan.Init.Prescaler = 12;
  hcan.Init.Mode = CAN_MODE_NORMAL;
  hcan.Init.SJW = CAN_SJW_1TQ;
  hcan.Init.BS1 = CAN_BS1_5TQ;
  hcan.Init.BS2 = CAN_BS2_6TQ;
  hcan.Init.TTCM = DISABLE;
  hcan.Init.ABOM = DISABLE;
  hcan.Init.AWUM = DISABLE;
  hcan.Init.NART = DISABLE;
  hcan.Init.RFLM = DISABLE;
  hcan.Init.TXFP = DISABLE;
  if (HAL_CAN_Init(&hcan) != HAL_OK)
  {
    _Error_Handler(__FILE__, __LINE__);
  }

}

/* IWDG init function */
static void MX_IWDG_Init(void)
{

  hiwdg.Instance = IWDG;
  hiwdg.Init.Prescaler = IWDG_PRESCALER_4;
  hiwdg.Init.Reload = 4095;
  if (HAL_IWDG_Init(&hiwdg) != HAL_OK)
  {
    _Error_Handler(__FILE__, __LINE__);
  }

}

/* TIM1 init function */
static void MX_TIM1_Init(void)
{

  TIM_ClockConfigTypeDef sClockSourceConfig;
  TIM_MasterConfigTypeDef sMasterConfig;

  htim1.Instance = TIM1;
  htim1.Init.Prescaler = 71;
  htim1.Init.CounterMode = TIM_COUNTERMODE_UP;
  htim1.Init.Period = 999;
  htim1.Init.ClockDivision = TIM_CLOCKDIVISION_DIV1;
  htim1.Init.RepetitionCounter = 0;
  htim1.Init.AutoReloadPreload = TIM_AUTORELOAD_PRELOAD_DISABLE;
  if (HAL_TIM_Base_Init(&htim1) != HAL_OK)
  {
    _Error_Handler(__FILE__, __LINE__);
  }

  sClockSourceConfig.ClockSource = TIM_CLOCKSOURCE_INTERNAL;
  if (HAL_TIM_ConfigClockSource(&htim1, &sClockSourceConfig) != HAL_OK)
  {
    _Error_Handler(__FILE__, __LINE__);
  }

  sMasterConfig.MasterOutputTrigger = TIM_TRGO_RESET;
  sMasterConfig.MasterSlaveMode = TIM_MASTERSLAVEMODE_DISABLE;
  if (HAL_TIMEx_MasterConfigSynchronization(&htim1, &sMasterConfig) != HAL_OK)
  {
    _Error_Handler(__FILE__, __LINE__);
  }

}

/* TIM2 init function */
static void MX_TIM2_Init(void)
{

  TIM_ClockConfigTypeDef sClockSourceConfig;
  TIM_MasterConfigTypeDef sMasterConfig;

  htim2.Instance = TIM2;
  htim2.Init.Prescaler = 71;
  htim2.Init.CounterMode = TIM_COUNTERMODE_UP;
  htim2.Init.Period = 999;
  htim2.Init.ClockDivision = TIM_CLOCKDIVISION_DIV1;
  htim2.Init.AutoReloadPreload = TIM_AUTORELOAD_PRELOAD_DISABLE;
  if (HAL_TIM_Base_Init(&htim2) != HAL_OK)
  {
    _Error_Handler(__FILE__, __LINE__);
  }

  sClockSourceConfig.ClockSource = TIM_CLOCKSOURCE_INTERNAL;
  if (HAL_TIM_ConfigClockSource(&htim2, &sClockSourceConfig) != HAL_OK)
  {
    _Error_Handler(__FILE__, __LINE__);
  }

  sMasterConfig.MasterOutputTrigger = TIM_TRGO_RESET;
  sMasterConfig.MasterSlaveMode = TIM_MASTERSLAVEMODE_DISABLE;
  if (HAL_TIMEx_MasterConfigSynchronization(&htim2, &sMasterConfig) != HAL_OK)
  {
    _Error_Handler(__FILE__, __LINE__);
  }

}

/* TIM3 init function */
static void MX_TIM3_Init(void)
{

  TIM_ClockConfigTypeDef sClockSourceConfig;
  TIM_MasterConfigTypeDef sMasterConfig;

  htim3.Instance = TIM3;
  htim3.Init.Prescaler = 71;
  htim3.Init.CounterMode = TIM_COUNTERMODE_UP;
  htim3.Init.Period = 999;
  htim3.Init.ClockDivision = TIM_CLOCKDIVISION_DIV1;
  htim3.Init.AutoReloadPreload = TIM_AUTORELOAD_PRELOAD_DISABLE;
  if (HAL_TIM_Base_Init(&htim3) != HAL_OK)
  {
    _Error_Handler(__FILE__, __LINE__);
  }

  sClockSourceConfig.ClockSource = TIM_CLOCKSOURCE_INTERNAL;
  if (HAL_TIM_ConfigClockSource(&htim3, &sClockSourceConfig) != HAL_OK)
  {
    _Error_Handler(__FILE__, __LINE__);
  }

  sMasterConfig.MasterOutputTrigger = TIM_TRGO_RESET;
  sMasterConfig.MasterSlaveMode = TIM_MASTERSLAVEMODE_DISABLE;
  if (HAL_TIMEx_MasterConfigSynchronization(&htim3, &sMasterConfig) != HAL_OK)
  {
    _Error_Handler(__FILE__, __LINE__);
  }

}

/* TIM6 init function */
static void MX_TIM6_Init(void)
{

  TIM_MasterConfigTypeDef sMasterConfig;

  htim6.Instance = TIM6;
  htim6.Init.Prescaler = 719;
  htim6.Init.CounterMode = TIM_COUNTERMODE_UP;
  htim6.Init.Period = 999;
  htim6.Init.AutoReloadPreload = TIM_AUTORELOAD_PRELOAD_ENABLE;
  if (HAL_TIM_Base_Init(&htim6) != HAL_OK)
  {
    _Error_Handler(__FILE__, __LINE__);
  }

  sMasterConfig.MasterOutputTrigger = TIM_TRGO_RESET;
  sMasterConfig.MasterSlaveMode = TIM_MASTERSLAVEMODE_DISABLE;
  if (HAL_TIMEx_MasterConfigSynchronization(&htim6, &sMasterConfig) != HAL_OK)
  {
    _Error_Handler(__FILE__, __LINE__);
  }

}

/* USART1 init function */
static void MX_USART1_UART_Init(void)
{

  huart1.Instance = USART1;
  huart1.Init.BaudRate = 9600;
  huart1.Init.WordLength = UART_WORDLENGTH_8B;
  huart1.Init.StopBits = UART_STOPBITS_1;
  huart1.Init.Parity = UART_PARITY_NONE;
  huart1.Init.Mode = UART_MODE_TX_RX;
  huart1.Init.HwFlowCtl = UART_HWCONTROL_NONE;
  huart1.Init.OverSampling = UART_OVERSAMPLING_16;
  if (HAL_UART_Init(&huart1) != HAL_OK)
  {
    _Error_Handler(__FILE__, __LINE__);
  }

}

static void MX_DMA_Init(void)
{
  /* DMA controller clock enable */
  __HAL_RCC_DMA1_CLK_ENABLE();

  /* DMA interrupt init */
  /* DMA1_Channel1_IRQn interrupt configuration */
  HAL_NVIC_SetPriority(DMA1_Channel1_IRQn, 4, 0);
  HAL_NVIC_EnableIRQ(DMA1_Channel1_IRQn);

}

/** Configure pins as
        * Analog
        * Input
        * Output
        * EVENT_OUT
        * EXTI
*/
static void MX_GPIO_Init(void)
{

  GPIO_InitTypeDef GPIO_InitStruct;

  /* GPIO Ports Clock Enable */
  __HAL_RCC_GPIOE_CLK_ENABLE();
  __HAL_RCC_GPIOC_CLK_ENABLE();
  __HAL_RCC_GPIOA_CLK_ENABLE();
  __HAL_RCC_GPIOB_CLK_ENABLE();
  __HAL_RCC_GPIOD_CLK_ENABLE();

  /*Configure GPIO pin Output Level */
  HAL_GPIO_WritePin(GPIOE, OUTPUT_SEATLED5_Pin|OUTPUT_SEATLED4_Pin|OUTPUT_SEATLED3_Pin|OUTPUT_573LE1_Pin
                          |OE_CE_Pin, GPIO_PIN_RESET);

  /*Configure GPIO pin Output Level */
  HAL_GPIO_WritePin(GPIOC, OUTPUT_SEATLED2_Pin|OUTPUT_SEATLED1_Pin|OUTPUT_CLR1_Pin|OUTPUT_DIR3_Pin
                          |OUTPUT_DIR2_Pin, GPIO_PIN_RESET);

  /*Configure GPIO pin Output Level */
  HAL_GPIO_WritePin(GPIOA, OUTPUT_PUL1_Pin|OUTPUT_CLR2_Pin, GPIO_PIN_RESET);

  /*Configure GPIO pin Output Level */
  HAL_GPIO_WritePin(GPIOB, OUTPUT_PUL2_Pin|OUTPUT_LED0_Pin|OUTPUT_LED1_Pin|OUTPUT_PUL3_Pin, GPIO_PIN_RESET);

  /*Configure GPIO pin Output Level */
  HAL_GPIO_WritePin(GPIOE, Uplimit1_Pin|Downlimit1_Pin|Uplimit2_Pin|Downlimit2_Pin
                          |Uplimit3_Pin|Downlimit3_Pin, GPIO_PIN_SET);

  /*Configure GPIO pin Output Level */
  HAL_GPIO_WritePin(GPIOD, OUTPUT_573LE2_Pin|OUTPUT_573LE3_Pin|OUTPUT_DIR1_Pin|OUTPUT_CLR3_Pin
                          |OUTPUT_NUP3_Pin|OUTPUT_NDOWN3_Pin|OUTPUT_NUP2_Pin|OUTPUT_NDOWN2_Pin
                          |OUTPUT_NUP1_Pin|OUTPUT_NDOWN1_Pin, GPIO_PIN_RESET);

  /*Configure GPIO pin Output Level */
  HAL_GPIO_WritePin(OUTPUT_485RW_GPIO_Port, OUTPUT_485RW_Pin, GPIO_PIN_SET);

  /*Configure GPIO pin Output Level */
  HAL_GPIO_WritePin(GPIOB, OUTPUT_SP8_Pin|OUTPUT_SP7_Pin|OUTPUT_SP6_Pin|OUTPUT_SP5_Pin
                          |OUTPUT_SP4_Pin|OUTPUT_SP3_Pin, GPIO_PIN_SET);

  /*Configure GPIO pins : OUTPUT_SEATLED5_Pin OUTPUT_SEATLED4_Pin OUTPUT_SEATLED3_Pin OUTPUT_573LE1_Pin
                           Uplimit1_Pin Downlimit1_Pin Uplimit2_Pin Downlimit2_Pin
                           Uplimit3_Pin Downlimit3_Pin */
  GPIO_InitStruct.Pin = OUTPUT_SEATLED5_Pin|OUTPUT_SEATLED4_Pin|OUTPUT_SEATLED3_Pin|OUTPUT_573LE1_Pin
                          |Uplimit1_Pin|Downlimit1_Pin|Uplimit2_Pin|Downlimit2_Pin
                          |Uplimit3_Pin|Downlimit3_Pin;
  GPIO_InitStruct.Mode = GPIO_MODE_OUTPUT_PP;
  GPIO_InitStruct.Speed = GPIO_SPEED_FREQ_HIGH;
  HAL_GPIO_Init(GPIOE, &GPIO_InitStruct);

  /*Configure GPIO pins : OUTPUT_SEATLED2_Pin OUTPUT_SEATLED1_Pin OUTPUT_CLR1_Pin OUTPUT_DIR3_Pin
                           OUTPUT_DIR2_Pin */
  GPIO_InitStruct.Pin = OUTPUT_SEATLED2_Pin|OUTPUT_SEATLED1_Pin|OUTPUT_CLR1_Pin|OUTPUT_DIR3_Pin
                          |OUTPUT_DIR2_Pin;
  GPIO_InitStruct.Mode = GPIO_MODE_OUTPUT_PP;
  GPIO_InitStruct.Speed = GPIO_SPEED_FREQ_HIGH;
  HAL_GPIO_Init(GPIOC, &GPIO_InitStruct);

  /*Configure GPIO pins : EXTI_UPLIMIT1_Pin EXTI_DOWNLIMIT1_Pin EXTI_UPLIMIT2_Pin EXTI_DOWNLIMIT2_Pin
                           EXTI_UPLIMIT3_Pin EXTI_DOWNLIMIT3_Pin */
  GPIO_InitStruct.Pin = EXTI_UPLIMIT1_Pin|EXTI_DOWNLIMIT1_Pin|EXTI_UPLIMIT2_Pin|EXTI_DOWNLIMIT2_Pin
                          |EXTI_UPLIMIT3_Pin|EXTI_DOWNLIMIT3_Pin;
  GPIO_InitStruct.Mode = GPIO_MODE_IT_RISING_FALLING;
  GPIO_InitStruct.Pull = GPIO_NOPULL;
  HAL_GPIO_Init(GPIOC, &GPIO_InitStruct);

  /*Configure GPIO pins : OUTPUT_PUL1_Pin OUTPUT_485RW_Pin OUTPUT_CLR2_Pin */
  GPIO_InitStruct.Pin = OUTPUT_PUL1_Pin|OUTPUT_485RW_Pin|OUTPUT_CLR2_Pin;
  GPIO_InitStruct.Mode = GPIO_MODE_OUTPUT_PP;
  GPIO_InitStruct.Speed = GPIO_SPEED_FREQ_HIGH;
  HAL_GPIO_Init(GPIOA, &GPIO_InitStruct);

  /*Configure GPIO pins : OUTPUT_PUL2_Pin OUTPUT_LED0_Pin OUTPUT_LED1_Pin OUTPUT_SP8_Pin
                           OUTPUT_SP7_Pin OUTPUT_SP6_Pin OUTPUT_SP5_Pin OUTPUT_SP4_Pin
                           OUTPUT_PUL3_Pin OUTPUT_SP3_Pin */
  GPIO_InitStruct.Pin = OUTPUT_PUL2_Pin|OUTPUT_LED0_Pin|OUTPUT_LED1_Pin|OUTPUT_SP8_Pin
                          |OUTPUT_SP7_Pin|OUTPUT_SP6_Pin|OUTPUT_SP5_Pin|OUTPUT_SP4_Pin
                          |OUTPUT_PUL3_Pin|OUTPUT_SP3_Pin;
  GPIO_InitStruct.Mode = GPIO_MODE_OUTPUT_PP;
  GPIO_InitStruct.Speed = GPIO_SPEED_FREQ_HIGH;
  HAL_GPIO_Init(GPIOB, &GPIO_InitStruct);

  /*Configure GPIO pin : INPUT_SW_Pin */
  GPIO_InitStruct.Pin = INPUT_SW_Pin;
  GPIO_InitStruct.Mode = GPIO_MODE_INPUT;
  GPIO_InitStruct.Pull = GPIO_NOPULL;
  HAL_GPIO_Init(INPUT_SW_GPIO_Port, &GPIO_InitStruct);

  /*Configure GPIO pins : OUTPUT_573LE2_Pin OUTPUT_573LE3_Pin OUTPUT_DIR1_Pin OUTPUT_CLR3_Pin
                           OUTPUT_NUP3_Pin OUTPUT_NDOWN3_Pin OUTPUT_NUP2_Pin OUTPUT_NDOWN2_Pin
                           OUTPUT_NUP1_Pin OUTPUT_NDOWN1_Pin */
  GPIO_InitStruct.Pin = OUTPUT_573LE2_Pin|OUTPUT_573LE3_Pin|OUTPUT_DIR1_Pin|OUTPUT_CLR3_Pin
                          |OUTPUT_NUP3_Pin|OUTPUT_NDOWN3_Pin|OUTPUT_NUP2_Pin|OUTPUT_NDOWN2_Pin
                          |OUTPUT_NUP1_Pin|OUTPUT_NDOWN1_Pin;
  GPIO_InitStruct.Mode = GPIO_MODE_OUTPUT_PP;
  GPIO_InitStruct.Speed = GPIO_SPEED_FREQ_HIGH;
  HAL_GPIO_Init(GPIOD, &GPIO_InitStruct);

  /*Configure GPIO pins : INPUT_BCD1_1_Pin INPUT_BCD2_1_Pin INPUT_BCD4_1_Pin INPUT_BCD8_1_Pin */
  GPIO_InitStruct.Pin = INPUT_BCD1_1_Pin|INPUT_BCD2_1_Pin|INPUT_BCD4_1_Pin|INPUT_BCD8_1_Pin;
  GPIO_InitStruct.Mode = GPIO_MODE_INPUT;
  GPIO_InitStruct.Pull = GPIO_NOPULL;
  HAL_GPIO_Init(GPIOD, &GPIO_InitStruct);

  /*Configure GPIO pins : INPUT_BCD1_2_Pin INPUT_BCD2_2_Pin INPUT_BCD4_2_Pin INPUT_BCD8_2_Pin */
  GPIO_InitStruct.Pin = INPUT_BCD1_2_Pin|INPUT_BCD2_2_Pin|INPUT_BCD4_2_Pin|INPUT_BCD8_2_Pin;
  GPIO_InitStruct.Mode = GPIO_MODE_INPUT;
  GPIO_InitStruct.Pull = GPIO_NOPULL;
  HAL_GPIO_Init(GPIOC, &GPIO_InitStruct);

  /*Configure GPIO pin : OE_CE_Pin */
  GPIO_InitStruct.Pin = OE_CE_Pin;
  GPIO_InitStruct.Mode = GPIO_MODE_OUTPUT_PP;
  GPIO_InitStruct.Speed = GPIO_SPEED_FREQ_LOW;
  HAL_GPIO_Init(OE_CE_GPIO_Port, &GPIO_InitStruct);

  /* EXTI interrupt init*/
  HAL_NVIC_SetPriority(EXTI0_IRQn, 0, 0);
  HAL_NVIC_EnableIRQ(EXTI0_IRQn);

  HAL_NVIC_SetPriority(EXTI1_IRQn, 0, 0);
  HAL_NVIC_EnableIRQ(EXTI1_IRQn);

  HAL_NVIC_SetPriority(EXTI2_IRQn, 0, 0);
  HAL_NVIC_EnableIRQ(EXTI2_IRQn);

  HAL_NVIC_SetPriority(EXTI3_IRQn, 0, 0);
  HAL_NVIC_EnableIRQ(EXTI3_IRQn);

  HAL_NVIC_SetPriority(EXTI4_IRQn, 0, 0);
  HAL_NVIC_EnableIRQ(EXTI4_IRQn);

  HAL_NVIC_SetPriority(EXTI9_5_IRQn, 0, 0);
  HAL_NVIC_EnableIRQ(EXTI9_5_IRQn);

}

void _Error_Handler(char * file, int line)
{
  while(1)
  {
  }
}

/************************ (C) COPYRIGHT STMicroelectronics *****END OF FILE****/
